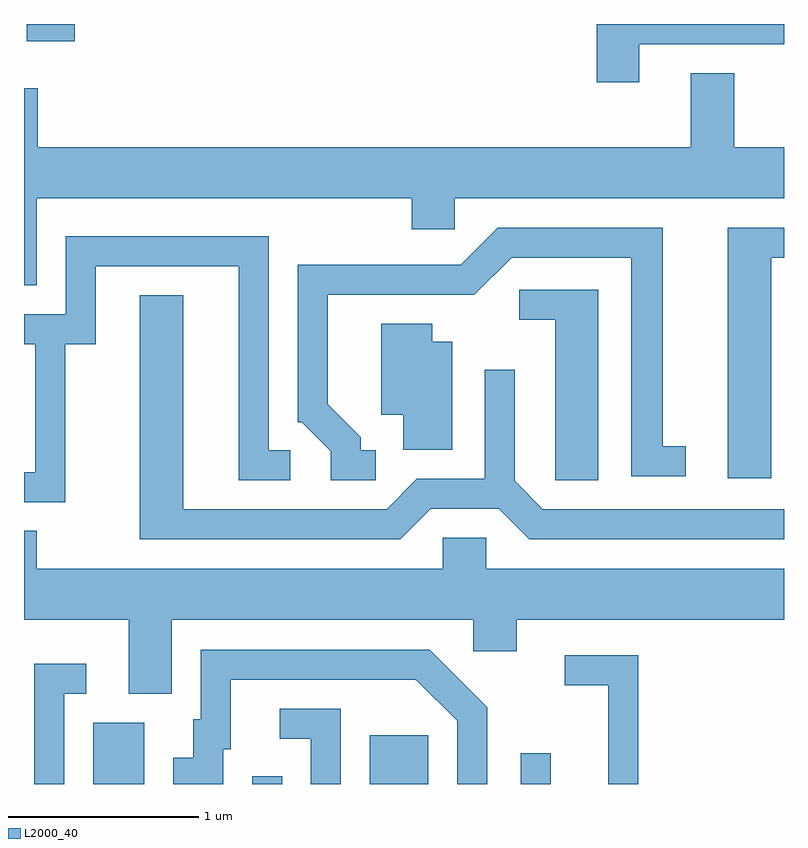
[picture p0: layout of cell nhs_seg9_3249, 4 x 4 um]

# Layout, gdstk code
import gdstk
lib = gdstk.Library(unit=1e-6, precision=1e-09)
def R(c, l, rs):  # rectangles x0, y0, x1, y1
    for r in rs: c.add(gdstk.rectangle(r[:2], r[2:], *l))
def P(c, l, *ps):  # polygons
    for p in ps: c.add(gdstk.Polygon(p, *l))
L2000_40 = (2000, 40)

nhs_seg9_3249 = lib.new_cell('nhs_seg9_3249')
R(nhs_seg9_3249, L2000_40, [(279.976,2066.432,280.244,2066.754), (280.811,2066.432,280.969,2066.472), (281.431,2066.432,281.739,2066.689), (282.226,2066.432,282.384,2066.593), (279.626,2070.341,279.879,2070.432)])
P(nhs_seg9_3249, L2000_40, [(282.849,2070.326),(283.611,2070.326),(283.611,2070.432),(282.626,2070.432),(282.626,2070.126),(282.849,2070.126)],
  [(279.679,2069.516),(281.651,2069.516),(281.651,2069.351),(281.879,2069.351),(281.879,2069.516),(283.611,2069.516),(283.611,2069.784),(283.349,2069.784),(283.349,2070.174),(283.121,2070.174),(283.121,2069.784),(279.684,2069.784),(279.684,2070.094),(279.611,2070.094),(279.611,2069.056),(279.679,2069.056)],
  [(283.544,2069.201),(283.611,2069.201),(283.611,2069.359),(283.316,2069.359),(283.316,2068.041),(283.544,2068.041)],
  [(281.463,2068.189),(281.384,2068.189),(281.384,2068.257),(281.209,2068.432),(281.209,2069.006),(281.982,2069.006),(282.177,2069.201),(282.806,2069.201),(282.806,2068.051),(283.093,2068.051),(283.093,2068.209),(282.974,2068.209),(282.974,2069.359),(282.104,2069.359),(281.909,2069.164),(281.051,2069.164),(281.051,2068.336),(281.074,2068.336),(281.226,2068.184),(281.226,2068.031),(281.463,2068.031)],
  [(279.829,2068.746),(279.989,2068.746),(279.989,2069.156),(280.741,2069.156),(280.741,2068.031),(281.013,2068.031),(281.013,2068.189),(280.899,2068.189),(280.899,2069.314),(279.831,2069.314),(279.831,2068.904),(279.611,2068.904),(279.611,2068.746),(279.671,2068.746),(279.671,2068.074),(279.611,2068.074),(279.611,2067.916),(279.829,2067.916)],
  [(282.634,2069.034),(282.218,2069.034),(282.218,2068.876),(282.406,2068.876),(282.406,2068.031),(282.634,2068.031)],
  [(281.752,2067.881),(282.109,2067.881),(282.269,2067.721),(283.611,2067.721),(283.611,2067.879),(282.342,2067.879),(282.194,2068.027),(282.194,2068.613),(282.036,2068.613),(282.036,2068.039),(281.679,2068.039),(281.519,2067.879),(280.449,2067.879),(280.449,2069.004),(280.221,2069.004),(280.221,2067.721),(281.592,2067.721)],
  [(281.864,2068.759),(281.759,2068.759),(281.759,2068.854),(281.491,2068.854),(281.491,2068.376),(281.606,2068.376),(281.606,2068.191),(281.864,2068.191)],
  [(280.389,2067.296),(281.976,2067.296),(281.976,2067.131),(282.204,2067.131),(282.204,2067.296),(283.611,2067.296),(283.611,2067.564),(282.044,2067.564),(282.044,2067.729),(281.816,2067.729),(281.816,2067.564),(279.679,2067.564),(279.679,2067.764),(279.611,2067.764),(279.611,2067.296),(280.161,2067.296),(280.161,2066.906),(280.389,2066.906)],
  [(280.659,2066.616),(280.699,2066.616),(280.699,2066.981),(281.674,2066.981),(281.891,2066.764),(281.891,2066.432),(282.049,2066.432),(282.049,2066.837),(281.747,2067.139),(280.541,2067.139),(280.541,2066.774),(280.501,2066.774),(280.501,2066.569),(280.396,2066.569),(280.396,2066.432),(280.659,2066.432)],
  [(282.844,2067.109),(282.458,2067.109),(282.458,2066.951),(282.686,2066.951),(282.686,2066.432),(282.844,2066.432)],
  [(279.824,2066.906),(279.938,2066.906),(279.938,2067.064),(279.666,2067.064),(279.666,2066.432),(279.824,2066.432)],
  [(281.279,2066.829),(280.958,2066.829),(280.958,2066.671),(281.121,2066.671),(281.121,2066.432),(281.279,2066.432)])

lib.write_gds('nhs_seg9_3249.gds')
